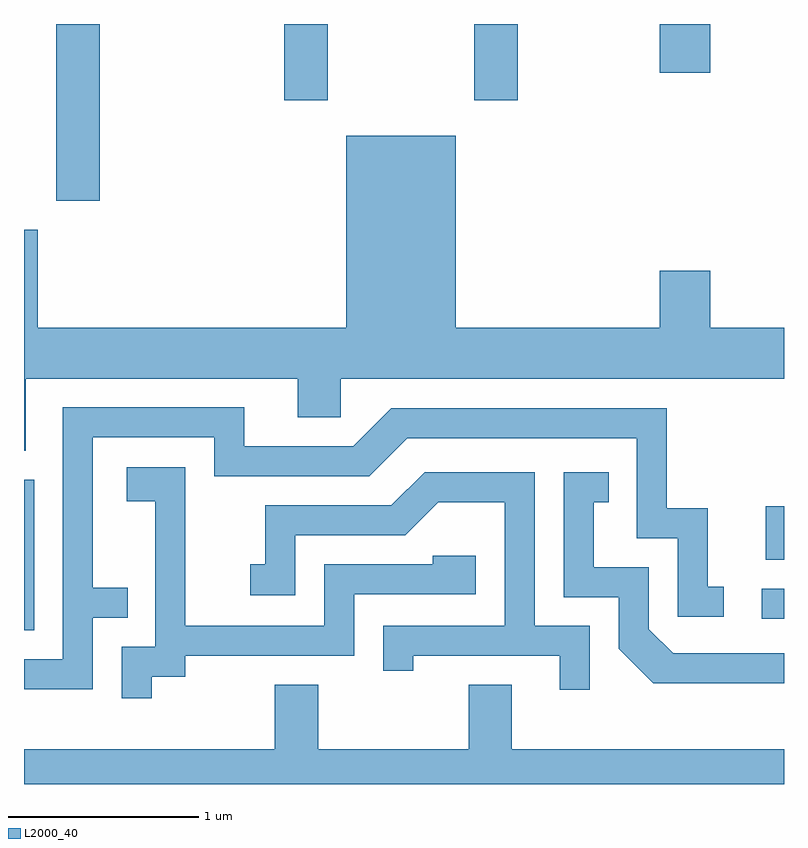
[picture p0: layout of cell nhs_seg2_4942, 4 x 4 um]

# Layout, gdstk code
import gdstk
lib = gdstk.Library(unit=1e-6, precision=1e-09)
def R(c, l, rs):  # rectangles x0, y0, x1, y1
    for r in rs: c.add(gdstk.rectangle(r[:2], r[2:], *l))
def P(c, l, *ps):  # polygons
    for p in ps: c.add(gdstk.Polygon(p, *l))
L2000_40 = (2000, 40)

nhs_seg2_4942 = lib.new_cell('nhs_seg2_4942')
R(nhs_seg2_4942, L2000_40, [(331.611,982.611,331.664,983.404), (335.493,982.671,335.611,982.829), (335.516,982.981,335.611,983.264), (331.781,984.871,332.009,985.802), (332.981,985.401,333.209,985.802), (333.981,985.401,334.209,985.802), (334.956,985.546,335.224,985.802)])
P(nhs_seg2_4942, L2000_40, [(331.619,983.936),(333.051,983.936),(333.051,983.731),(333.279,983.731),(333.279,983.936),(335.611,983.936),(335.611,984.204),(335.224,984.204),(335.224,984.504),(334.956,984.504),(334.956,984.204),(333.884,984.204),(333.884,985.214),(333.306,985.214),(333.306,984.204),(331.684,984.204),(331.684,984.719),(331.611,984.719),(331.611,983.556),(331.619,983.556)],
  [(331.974,982.676),(332.158,982.676),(332.158,982.834),(331.974,982.834),(331.974,983.626),(332.611,983.626),(332.611,983.421),(333.427,983.421),(333.627,983.621),(334.836,983.621),(334.836,983.096),(335.051,983.096),(335.051,982.681),(335.293,982.681),(335.293,982.839),(335.209,982.839),(335.209,983.254),(334.994,983.254),(334.994,983.779),(333.544,983.779),(333.344,983.579),(332.769,983.579),(332.769,983.784),(331.816,983.784),(331.816,982.459),(331.611,982.459),(331.611,982.301),(331.974,982.301)],
  [(332.284,982.366),(332.459,982.366),(332.459,982.476),(333.349,982.476),(333.349,982.801),(333.989,982.801),(333.989,983.004),(333.761,983.004),(333.761,982.959),(333.191,982.959),(333.191,982.634),(332.459,982.634),(332.459,983.469),(332.151,983.469),(332.151,983.291),(332.301,983.291),(332.301,982.524),(332.126,982.524),(332.126,982.253),(332.284,982.253)],
  [(334.589,982.634),(334.299,982.634),(334.299,983.444),(333.719,983.444),(333.544,983.269),(332.881,983.269),(332.881,982.959),(332.803,982.959),(332.803,982.796),(333.039,982.796),(333.039,983.111),(333.617,983.111),(333.792,983.286),(334.141,983.286),(334.141,982.634),(333.501,982.634),(333.501,982.398),(333.659,982.398),(333.659,982.476),(334.431,982.476),(334.431,982.298),(334.589,982.298)],
  [(335.611,982.489),(335.027,982.489),(334.899,982.617),(334.899,982.944),(334.609,982.944),(334.609,983.286),(334.688,983.286),(334.688,983.444),(334.451,983.444),(334.451,982.786),(334.741,982.786),(334.741,982.514),(334.924,982.331),(335.611,982.331)],
  [(335.611,981.984),(334.179,981.984),(334.179,982.324),(333.951,982.324),(333.951,981.984),(333.159,981.984),(333.159,982.324),(332.931,982.324),(332.931,981.984),(331.611,981.984),(331.611,981.802),(335.611,981.802)])

lib.write_gds('nhs_seg2_4942.gds')
